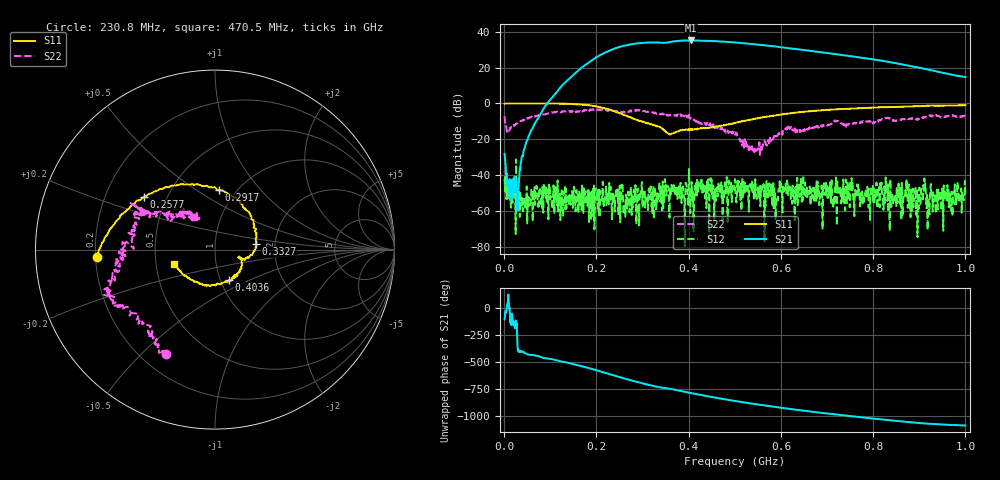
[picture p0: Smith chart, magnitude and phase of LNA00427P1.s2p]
! Created with skrf 1.9.0 (http://scikit-rf.org).
# Hz S RI R 50.0
!freq ReS11 ImS11 ReS21 ImS21 ReS12 ImS12 ReS22 ImS22
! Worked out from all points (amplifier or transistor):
!   1001 points, 1 MHz to 1 GHz, reference 50 ohm
!   highest |S21| = 35.1 dB at 404.6 MHz (marker M1)
!   |S21| within 3 dB of that: 259.8 MHz to 575.8 MHz (316 MHz wide, 75.6 % of centre)
!   unconditionally stable (mu >= 1): 231.2 MHz to 298.4 MHz; 298.7 MHz to 400.3 MHz; 401.1 MHz to end of sweep (the widest 3 of 36)
!   at 166.8 MHz: K = 1.33, MAG = 31.5 dB, |S12| = -50.2 dB
!   at 500.5 MHz: K = 1.30, MAG = 34.7 dB, |S12| = -42.1 dB
!   at 1 GHz: K = 6.06, MAG = 22.6 dB, |S12| = -52.1 dB
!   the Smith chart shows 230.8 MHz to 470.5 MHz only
!   S11 on the Smith chart (normalised r, x): 230.8 MHz: 0.21, -0.03; 257.7 MHz: 0.37, +0.29; 291.7 MHz: 0.83, +0.62; 332.7 MHz: 1.58, +0.11; 403.6 MHz: 1.10, -0.39; 470.5 MHz: 0.62, -0.11
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1000000  0.9816 0.0109  -0.00934 -0.0381  -0.0077 0.00195  0.3243 0.2959
1.08892e8  0.5241 -0.8456  -0.801 -1.542  -0.000757 0.00037  0.4171 -0.374
1.67833e8  -0.2237 -0.9038  -9.91 -0.6379  0.000639 0.000888  0.0339 -0.6306
2.04796e8  -0.6432 -0.4838  -16.13 13.66  -0.000889 -0.000276  -0.1947 -0.6598
2.3077e8  -0.6559 -0.0412  -8.641 29.33  0.00324 -0.00354  -0.2751 -0.581
2.57743e8  -0.3963 0.2939  11.67 38.1  -0.00204 -0.00116  -0.4165 -0.3887
2.91709e8  0.0211 0.3304  39.67 26.47  0.000171 -0.00133  -0.6044 -0.2214
3.11689e8  0.1814 0.2144  48.28 10.48  -0.000347 0.00102  -0.5718 -0.1489
3.32668e8  0.2273 0.0319  49.52 -6.971  0.000898 0.00145  -0.5391 -0.0271
3.34666e8  0.2269 0.0183  48.97 -8.556  -0.00191 0.0018  -0.5344 -0.0108
3.71629e8  0.1492 -0.0595  44.19 -31.99  -0.00268 0.00429  -0.4229 0.1749
4.03597e8  0.0788 -0.1695  24.15 -51.34  0.000769 0.000433  -0.3282 0.1847
4.04596e8  0.0804 -0.175  23.43 -51.82  -0.00167 0.00408  -0.3228 0.2178
4.37563e8  -0.0906 -0.1896  -2.701 -55.59  0.000444 0.0042  -0.171 0.1822
4.7053e8  -0.2267 -0.0816  -24.4 -47.22  0.00496 0.00474  -0.1184 0.182
5.005e8  -0.2823 0.0709  -37.71 -32.97  0.00696 0.00374  -0.0588 0.12
5.62438e8  -0.1739 0.3779  -42.06 -0.5945  0.00494 0.00288  -0.0732 -0.00536
6.11389e8  0.0374 0.5143  -31.2 16.51  0.00153 -0.00278  -0.1757 -0.099
6.67333e8  0.3084 0.5323  -15.03 24.36  0.00316 -0.00118  -0.1965 -0.0637
7.53247e8  0.6206 0.3731  3.524 20.26  -0.000553 -0.00836  -0.2646 -0.011
8.34166e8  0.7807 0.1458  10.3 9.94  0.00104 0.00234  -0.3841 0.0196
1e9  0.8104 -0.3856  5.438 -0.4796  0.00116 -0.00221  -0.2874 0.355
